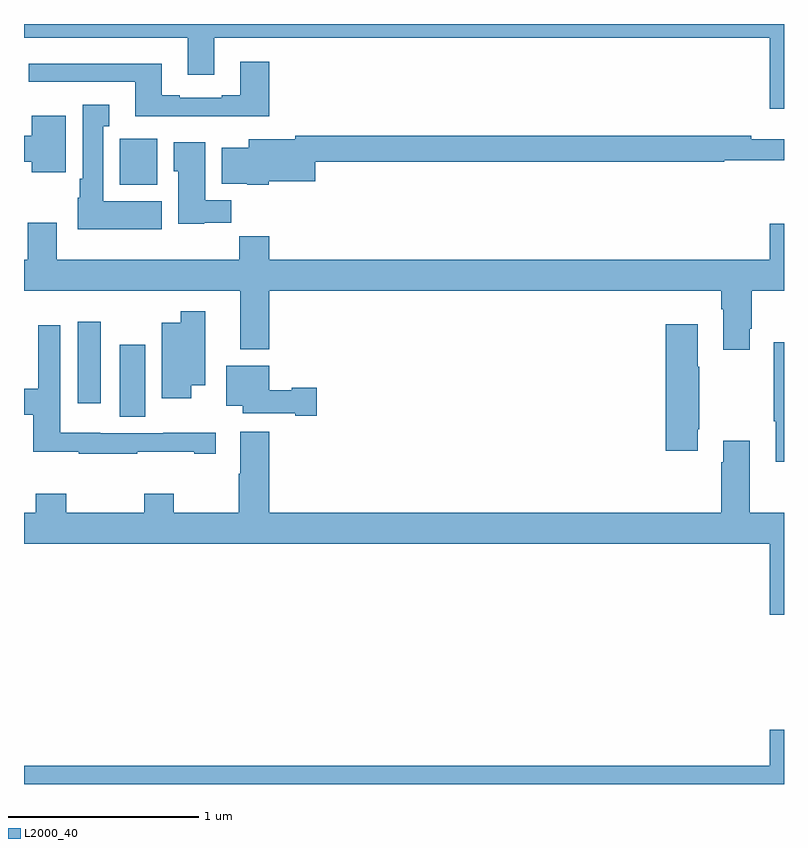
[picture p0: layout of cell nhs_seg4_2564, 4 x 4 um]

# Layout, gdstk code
import gdstk
lib = gdstk.Library(unit=1e-6, precision=1e-09)
def R(c, l, rs):  # rectangles x0, y0, x1, y1
    for r in rs: c.add(gdstk.rectangle(r[:2], r[2:], *l))
def P(c, l, *ps):  # polygons
    for p in ps: c.add(gdstk.Polygon(p, *l))
L2000_40 = (2000, 40)

nhs_seg4_2564 = lib.new_cell('nhs_seg4_2564')
R(nhs_seg4_2564, L2000_40, [(245.504,786.832,245.638,787.213), (245.282,786.903,245.404,787.333), (245.504,788.054,245.701,788.296)])
P(nhs_seg4_2564, L2000_40, [(249,788.9),(245,788.9),(245,788.828),(245.861,788.828),(245.861,788.634),(246.001,788.634),(246.001,788.828),(248.924,788.828),(248.924,788.454),(249,788.454)],
  [(246.29,788.701),(246.137,788.701),(246.137,788.524),(246.041,788.524),(246.041,788.511),(245.821,788.511),(245.821,788.524),(245.725,788.524),(245.725,788.692),(245.025,788.692),(245.025,788.595),(245.585,788.595),(245.585,788.414),(246.29,788.414)],
  [(245.725,787.966),(245.416,787.966),(245.416,788.363),(245.449,788.363),(245.449,788.476),(245.309,788.476),(245.309,788.086),(245.294,788.086),(245.294,787.986),(245.282,787.986),(245.282,787.82),(245.725,787.82)],
  [(245.221,788.416),(245.042,788.416),(245.042,788.312),(245,788.312),(245,788.176),(245.042,788.176),(245.042,788.12),(245.221,788.12)],
  [(246.288,788.072),(246.532,788.072),(246.532,788.176),(248.686,788.176),(248.686,788.184),(249,788.184),(249,788.293),(248.828,788.293),(248.828,788.312),(246.428,788.312),(246.428,788.293),(246.182,788.293),(246.182,788.248),(246.041,788.248),(246.041,788.06),(246.174,788.06),(246.174,788.054),(246.288,788.054)],
  [(245.949,787.854),(246.092,787.854),(246.092,787.972),(245.953,787.972),(245.953,788.278),(245.789,788.278),(245.789,788.124),(245.813,788.124),(245.813,787.85),(245.949,787.85)],
  [(248.821,787.297),(248.829,787.297),(248.829,787.496),(249,787.496),(249,787.849),(248.924,787.849),(248.924,787.66),(246.29,787.66),(246.29,787.784),(246.133,787.784),(246.133,787.66),(245.173,787.66),(245.173,787.855),(245.021,787.855),(245.021,787.66),(245,787.66),(245,787.496),(246.137,787.496),(246.137,787.187),(246.29,787.187),(246.29,787.496),(248.669,787.496),(248.669,787.4),(248.681,787.4),(248.681,787.185),(248.821,787.185)],
  [(245.881,786.998),(245.953,786.998),(245.953,787.387),(245.824,787.387),(245.824,787.327),(245.726,787.327),(245.726,786.93),(245.881,786.93)],
  [(248.545,786.766),(248.553,786.766),(248.553,787.097),(248.545,787.097),(248.545,787.321),(248.378,787.321),(248.378,786.654),(248.545,786.654)],
  [(245.597,786.649),(245.897,786.649),(245.897,786.639),(246.01,786.639),(246.01,786.749),(245.734,786.749),(245.734,786.747),(245.4,786.747),(245.4,786.748),(245.19,786.748),(245.19,787.315),(245.074,787.315),(245.074,786.98),(245,786.98),(245,786.844),(245.048,786.844),(245.048,786.649),(245.287,786.649),(245.287,786.639),(245.597,786.639)],
  [(249,787.225),(248.946,787.225),(248.946,786.809),(248.957,786.809),(248.957,786.597),(249,786.597)],
  [(246.541,786.986),(246.408,786.986),(246.408,786.973),(246.292,786.973),(246.292,787.102),(246.065,787.102),(246.065,786.89),(246.152,786.89),(246.152,786.851),(246.428,786.851),(246.428,786.839),(246.541,786.839)],
  [(249,786.328),(248.821,786.328),(248.821,786.706),(248.681,786.706),(248.681,786.593),(248.669,786.593),(248.669,786.328),(246.29,786.328),(246.29,786.754),(246.137,786.754),(246.137,786.533),(246.13,786.533),(246.13,786.328),(245.787,786.328),(245.787,786.427),(245.632,786.427),(245.632,786.328),(245.223,786.328),(245.223,786.427),(245.063,786.427),(245.063,786.328),(245,786.328),(245,786.164),(248.924,786.164),(248.924,785.79),(249,785.79)],
  [(249,785.185),(248.924,785.185),(248.924,784.996),(245,784.996),(245,784.9),(249,784.9)])

lib.write_gds('nhs_seg4_2564.gds')
